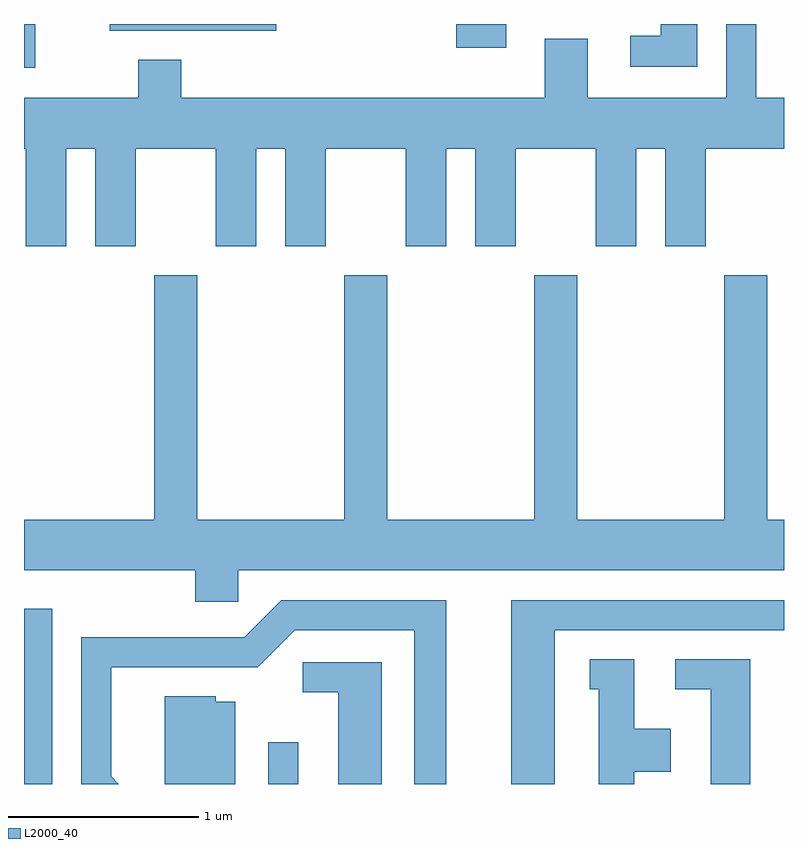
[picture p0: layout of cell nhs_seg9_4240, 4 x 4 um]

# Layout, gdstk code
import gdstk
lib = gdstk.Library(unit=1e-6, precision=1e-09)
def R(c, l, rs):  # rectangles x0, y0, x1, y1
    for r in rs: c.add(gdstk.rectangle(r[:2], r[2:], *l))
def P(c, l, *ps):  # polygons
    for p in ps: c.add(gdstk.Polygon(p, *l))
L2000_40 = (2000, 40)

nhs_seg9_4240 = lib.new_cell('nhs_seg9_4240')
R(nhs_seg9_4240, L2000_40, [(309.611,2028.432,309.759,2029.354), (310.896,2028.432,311.054,2028.653), (309.611,2032.201,309.669,2032.432), (311.886,2032.306,312.149,2032.432), (310.061,2032.396,310.938,2032.432)])
P(nhs_seg9_4240, L2000_40, [(309.834,2031.776),(309.986,2031.776),(309.986,2031.261),(310.199,2031.261),(310.199,2031.776),(310.621,2031.776),(310.621,2031.261),(310.834,2031.261),(310.834,2031.776),(310.986,2031.776),(310.986,2031.261),(311.199,2031.261),(311.199,2031.776),(311.621,2031.776),(311.621,2031.261),(311.834,2031.261),(311.834,2031.776),(311.986,2031.776),(311.986,2031.261),(312.199,2031.261),(312.199,2031.776),(312.621,2031.776),(312.621,2031.261),(312.834,2031.261),(312.834,2031.776),(312.986,2031.776),(312.986,2031.261),(313.199,2031.261),(313.199,2031.776),(313.611,2031.776),(313.611,2032.044),(313.464,2032.044),(313.464,2032.432),(313.306,2032.432),(313.306,2032.044),(312.579,2032.044),(312.579,2032.354),(312.351,2032.354),(312.351,2032.044),(310.439,2032.044),(310.439,2032.244),(310.211,2032.244),(310.211,2032.044),(309.611,2032.044),(309.611,2031.776),(309.621,2031.776),(309.621,2031.261),(309.834,2031.261)],
  [(313.154,2032.432),(312.961,2032.432),(312.961,2032.369),(312.803,2032.369),(312.803,2032.206),(313.154,2032.206)],
  [(310.739,2029.556),(313.611,2029.556),(313.611,2029.824),(313.524,2029.824),(313.524,2031.109),(313.296,2031.109),(313.296,2029.824),(312.524,2029.824),(312.524,2031.109),(312.296,2031.109),(312.296,2029.824),(311.524,2029.824),(311.524,2031.109),(311.296,2031.109),(311.296,2029.824),(310.524,2029.824),(310.524,2031.109),(310.296,2031.109),(310.296,2029.824),(309.611,2029.824),(309.611,2029.556),(310.511,2029.556),(310.511,2029.391),(310.739,2029.391)],
  [(312.404,2029.241),(313.611,2029.241),(313.611,2029.399),(312.176,2029.399),(312.176,2028.432),(312.404,2028.432)],
  [(310.069,2028.472),(310.069,2029.046),(310.842,2029.046),(311.037,2029.241),(311.666,2029.241),(311.666,2028.432),(311.834,2028.432),(311.834,2029.399),(310.964,2029.399),(310.769,2029.204),(309.911,2029.204),(309.911,2028.432),(310.109,2028.432)],
  [(312.824,2028.496),(313.014,2028.496),(313.014,2028.724),(312.824,2028.724),(312.824,2029.089),(312.588,2029.089),(312.588,2028.931),(312.636,2028.931),(312.636,2028.432),(312.824,2028.432)],
  [(313.434,2029.089),(313.038,2029.089),(313.038,2028.931),(313.226,2028.931),(313.226,2028.432),(313.434,2028.432)],
  [(311.494,2029.074),(311.078,2029.074),(311.078,2028.916),(311.266,2028.916),(311.266,2028.432),(311.494,2028.432)],
  [(310.724,2028.864),(310.619,2028.864),(310.619,2028.894),(310.351,2028.894),(310.351,2028.432),(310.724,2028.432)])

lib.write_gds('nhs_seg9_4240.gds')
